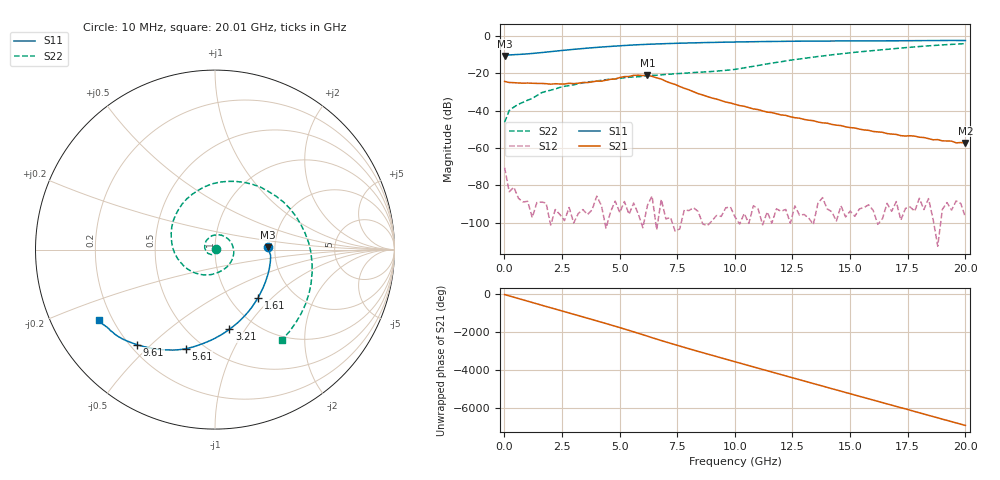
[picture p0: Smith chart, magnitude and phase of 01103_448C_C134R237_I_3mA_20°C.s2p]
!;Filter: kein Filter
!auto
!3/21/2019 9:27:07 AM
!3/21/2019 9:27:22 AM
!SP-Measurements Prober G4
!SP-Measurements Prober G4
!134
!237
!12
!20
!-20
!0.00299959
!1.83
!0.38139174
!0.38139174
# Hz S  RI  R 50
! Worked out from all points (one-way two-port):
!   101 points, 10 MHz to 20.01 GHz, reference 50 ohm
!   highest |S21| = -20.94 dB at 6.21 GHz (marker M1); lowest = -57.3 dB at 20.01 GHz (marker M2)
!   lowest |S11| = -10.6 dB at 10 MHz (marker M3), VSWR 1.83, Z = 91.5 + j3.02 ohm
!   |S11| at or under -10 dB: start of sweep to 409.1 MHz
!   |S22| runs from -46.2 to -4.1 dB; largest |S21 - S12| = 0.09
!   S11 on the Smith chart (normalised r, x): 10 MHz: 1.83, +0.06; 1.61 GHz: 1.34, -0.83; 3.21 GHz: 0.76, -0.85; 5.61 GHz: 0.40, -0.67; 9.61 GHz: 0.23, -0.45; 20.01 GHz: 0.15, -0.27
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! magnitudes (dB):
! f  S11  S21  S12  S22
! 10 MHz  -10.6  -24.3  -70.5  -46.2
! 210 MHz  -10.1  -24.9  -83.5  -39.9
! 610 MHz  -9.9  -25.2  -87.0  -36.6
! 1.21 GHz  -9.3  -25.3  -97.3  -33.5
! 1.61 GHz  -8.9  -25.4  -89.0  -30.4
! 2.41 GHz  -7.9  -25.7  -95.7  -27.5
! 3.21 GHz  -6.9  -25.3  -95.1  -25.6
! 3.41 GHz  -6.7  -24.9  -93.0  -25.1
! 4.21 GHz  -5.9  -24.2  -90.8  -23.7
! 5.61 GHz  -4.8  -21.1  -89.6  -21.9
! 6.21 GHz  -4.4  -20.9  -90.8  -21.3
! 6.81 GHz  -4.2  -23.1  -87.5  -20.8
! 8.41 GHz  -3.6  -30.9  -94.0  -19.4
! 9.61 GHz  -3.3  -35.4  -92.1  -18.4
! 10.01 GHz  -3.2  -36.6  -97.0  -17.9
! 11.41 GHz  -2.9  -40.8  -94.3  -14.9
! 13.41 GHz  -2.7  -45.4  -101.0  -11.3
! 16.81 GHz  -2.5  -52.5  -93.9  -6.9
! 19.01 GHz  -2.4  -56.2  -92.9  -4.8
! 19.41 GHz  -2.4  -56.3  -93.3  -4.5
! 19.61 GHz  -2.4  -57.3  -88.4  -4.3
! 20.01 GHz  -2.4  -57.3  -97.2  -4.1
